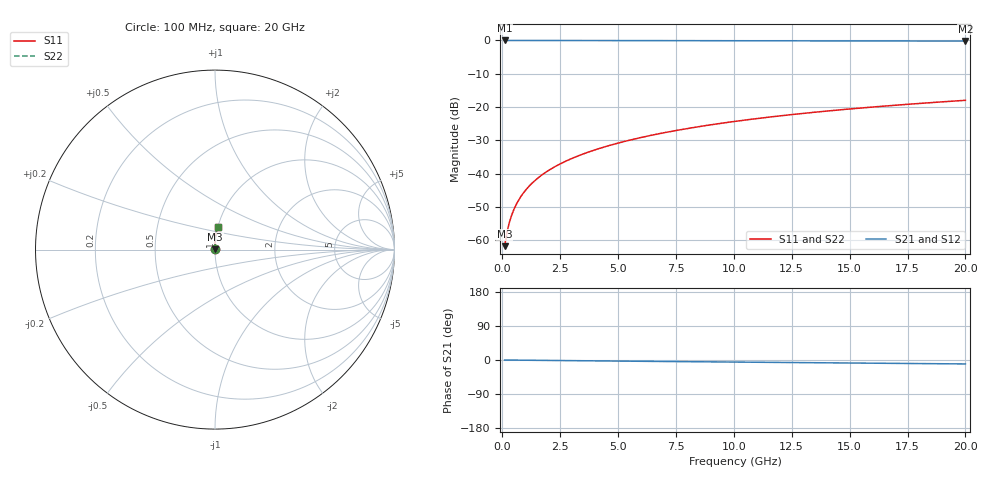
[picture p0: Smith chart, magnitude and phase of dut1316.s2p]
! Touchstone file exported from HFSS 2024.1.0
!  File:  C:/UserFiles/LocalFiles/RDL_TSV_Batchsim/temp_RDL_bottom_1316_1780368737.aedt
!  Generated:  10:54:49 AM Jun  2, 2026
!  Design:  RDL_bottom
!  Project:  temp_RDL_bottom_1316_1780368737
!  Setup:  Setup1
!  Solution:  Sweep
! Variables:
!  dtsv = 10.80580581um
!  hbump = 3um
!  htsv = 73.42um
!  ldown = 105.11um
!  lrdl = 100um
!  p = 40
!  p1 = 56.43um
!  rhole = 1um
!  t = 450um
!  tdown = 4.24um
!  trdl = 3.915915916um
!  wdown = 23.73um
!  wrdl = 20um
# GHz S MA R 50.000000
! Terminal data exported
! Port[1] = RDL1_T1
! Port[2] = RDL1_T2
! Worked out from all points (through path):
!   200 points, 100 MHz to 20 GHz, reference 50 ohm
!   highest |S21| = 0.00 dB at 100 MHz (marker M1); lowest = -0.2 dB at 20 GHz (marker M2)
!   group delay of S21, straight-line fit = 1.43 ps
!   lowest |S11| = -61.8 dB at 100 MHz (marker M3), VSWR 1.00, Z = 50.1 + j0.0596 ohm
!   |S11| at or under -10 dB: start of sweep to end of sweep
!   |S22| runs from -61.8 to -18.0 dB; largest |S21 - S12| = 5.5e-15
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0.1  0.0008172 46.8  0.9994 -0.1  0.9994 -0.1  0.0008172 46.8
! Gamma 0 0 0 0
! Port Impedance 50 0 50 0
0.2  0.001309 63.4  0.9994 -0.1  0.9994 -0.1  0.001309 63.4
0.3  0.001833 70.6  0.9994 -0.2  0.9994 -0.2  0.001833 70.6
0.4  0.002364 74.7  0.9993 -0.2  0.9993 -0.2  0.002364 74.7
0.5  0.002899 77.4  0.9993 -0.3  0.9993 -0.3  0.002899 77.4
0.7  0.003981 80.9  0.9992 -0.4  0.9992 -0.4  0.003981 80.9
0.8  0.004526 82.0  0.9992 -0.5  0.9992 -0.5  0.004526 82.0
1  0.005623 83.7  0.9991 -0.6  0.9991 -0.6  0.005623 83.7
1.2  0.006727 84.9  0.9991 -0.7  0.9991 -0.7  0.006727 84.9
1.4  0.007837 85.8  0.999 -0.8  0.999 -0.8  0.007837 85.8
1.7  0.009513 86.8  0.9988 -1.0  0.9988 -1.0  0.009513 86.8
2  0.0112 87.6  0.9986 -1.2  0.9986 -1.2  0.0112 87.6
2.7  0.01518 88.7  0.998 -1.6  0.998 -1.6  0.01518 88.7
3.5  0.01983 89.6  0.9973 -2.0  0.9973 -2.0  0.01983 89.6
4.2  0.02397 90.0  0.9965 -2.4  0.9965 -2.4  0.02397 90.0
5  0.0288 90.3  0.9956 -2.9  0.9956 -2.9  0.0288 90.3
6.8  0.04 90.3  0.9934 -3.8  0.9934 -3.8  0.04 90.3
8.4  0.05025 89.9  0.9914 -4.7  0.9914 -4.7  0.05025 89.9
10.1  0.06134 89.2  0.9893 -5.5  0.9893 -5.5  0.06134 89.2
13.4  0.08308 87.4  0.9856 -7.2  0.9856 -7.2  0.08308 87.4
16.7  0.1048 85.4  0.9819 -8.8  0.9819 -8.8  0.1048 85.4
20  0.1263 83.4  0.9782 -10.4  0.9782 -10.4  0.1263 83.4
